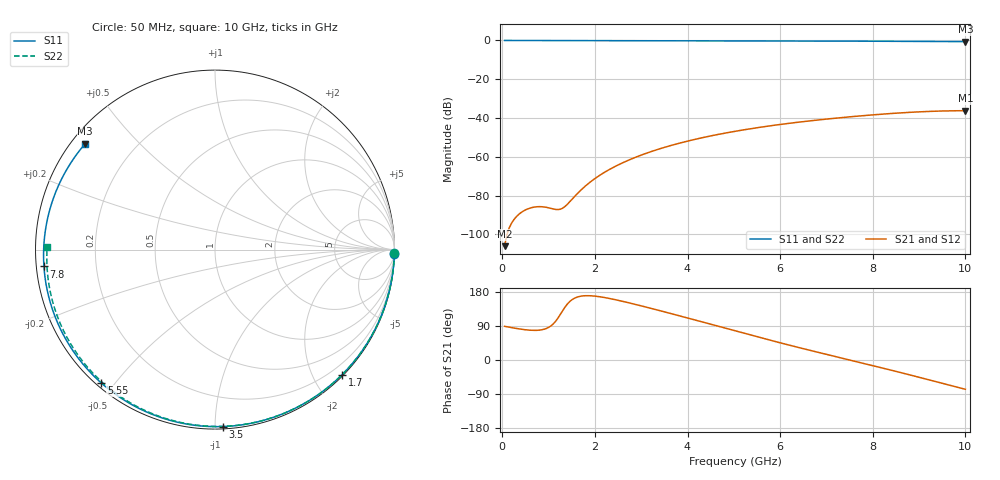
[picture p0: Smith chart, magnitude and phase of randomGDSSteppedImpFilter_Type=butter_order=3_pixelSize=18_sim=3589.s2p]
! freq	dB(S11)	phase(S11)	dB(S12)	phase(S12)
!  dB(S21)	phase(S21)	dB(S22)	phase(S22)
!S-par simulation data
#  GHz  S  DB  R 50
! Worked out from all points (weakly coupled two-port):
!   200 points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, 50 MHz to 10 GHz, reference 50 ohm
!   highest |S21| = -36.23 dB at 10 GHz (marker M1); lowest = -106.1 dB at 50 MHz (marker M2)
!   lowest |S11| = -0.6 dB at 10 GHz (marker M3), VSWR 29.00, Z = 1.94 + j17.8 ohm
!   |S11| at or under -10 dB: nowhere
!   |S22| runs from -0.6 to 0.0 dB; largest |S21 - S12| = 0
!   S11 on the Smith chart (normalised r, x): 50 MHz: 0, -85; 1.7 GHz: 0.02, -2.45; 3.5 GHz: 0.01, -1.05; 5.55 GHz: 0.01, -0.46; 7.8 GHz: 0.02, -0.05; 10 GHz: 0.04, +0.36
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0.05  -0.00 -1.3  -106.08 88.9  -106.08 88.9  -0.00 -1.1
0.4  -0.02 -10.7  -88.84 81.4  -88.84 81.4  -0.01 -8.4
0.8  -0.03 -21.3  -85.70 78.8  -85.70 78.8  -0.02 -16.7
1.55  -0.05 -40.7  -80.76 162.4  -80.76 162.4  -0.04 -32.1
1.6  -0.05 -42.0  -79.49 165.2  -79.49 165.2  -0.04 -33.1
1.7  -0.06 -44.5  -77.11 168.5  -77.11 168.5  -0.04 -35.1
1.75  -0.06 -45.7  -76.00 169.3  -76.00 169.3  -0.05 -36.1
2.05  -0.07 -53.2  -70.39 167.8  -70.39 167.8  -0.05 -42.1
2.45  -0.08 -63.0  -64.80 158.9  -64.80 158.9  -0.06 -50.0
2.9  -0.10 -73.6  -60.03 145.9  -60.03 145.9  -0.08 -58.8
3.4  -0.11 -85.1  -55.87 130.3  -55.87 130.3  -0.09 -68.2
3.5  -0.11 -87.4  -55.14 127.1  -55.14 127.1  -0.09 -70.1
4.25  -0.14 -103.7  -50.51 102.7  -50.51 102.7  -0.12 -83.8
5.05  -0.18 -120.4  -46.75 76.2  -46.75 76.2  -0.15 -97.9
5.55  -0.21 -130.4  -44.84 59.8  -44.84 59.8  -0.17 -106.5
6.15  -0.24 -142.2  -42.86 40.7  -42.86 40.7  -0.21 -116.6
6.7  -0.28 -153.0  -41.31 23.8  -41.31 23.8  -0.24 -125.7
7.25  -0.33 -163.6  -39.95 7.4  -39.95 7.4  -0.28 -134.7
7.8  -0.38 -174.4  -38.76 -8.9  -38.76 -8.9  -0.33 -143.7
8.35  -0.43 174.7  -37.74 -25.4  -37.74 -25.4  -0.38 -152.7
9.15  -0.51 158.6  -36.65 -50.3  -36.65 -50.3  -0.47 -166.1
10  -0.60 140.8  -36.23 -77.3  -36.23 -77.3  -0.58 179.2
